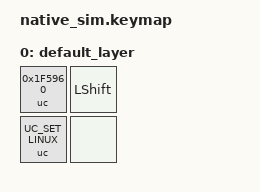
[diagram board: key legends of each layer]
#include <behaviors/unicode.dtsi>
#include <dt-bindings/zmk/keys.h>
#include <behaviors.dtsi>
#include <dt-bindings/zmk/kscan_mock.h>

/ {
    keymap {
        compatible = "zmk,keymap";
        default_layer {
            bindings = <
                &uc 0x1F596 0 &kp LSHFT
                &uc UC_SET_LINUX &none
            >;
        };
    };
};

&uc {
    default-mode = <UC_MODE_MACOS>;
};

&kscan {
    events = <
        ZMK_MOCK_PRESS(0,0,100)
        ZMK_MOCK_RELEASE(0,0,10)
    >;
};
